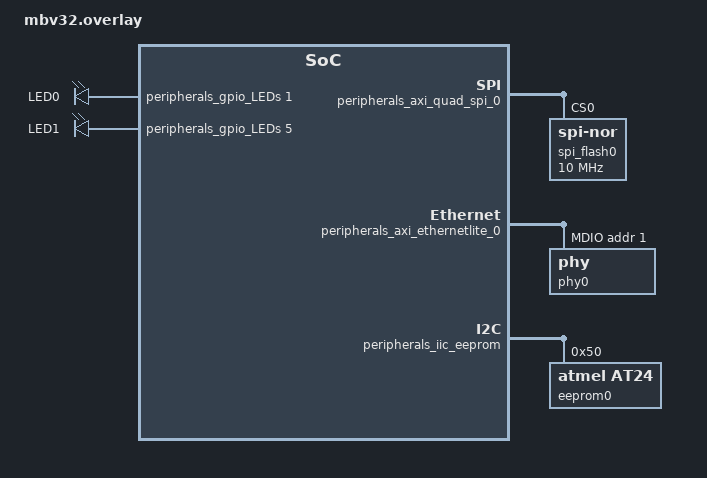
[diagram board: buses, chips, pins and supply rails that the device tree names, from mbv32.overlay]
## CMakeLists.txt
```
cmake_minimum_required(VERSION 3.20.0)

find_package(Zephyr REQUIRED HINTS $ENV{ZEPHYR_BASE})
project(mbv_myapp)

file(GLOB APP_SOURCES CONFIGURE_DEPENDS
    ${CMAKE_CURRENT_SOURCE_DIR}/src/*.c
)

target_sources(app PRIVATE ${APP_SOURCES})
```

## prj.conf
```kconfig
#CONFIG_NO_OPTIMIZATIONS=y

CONFIG_PRINTK=y
CONFIG_CONSOLE=y
CONFIG_UART_CONSOLE=y
CONFIG_GPIO=y
CONFIG_MAIN_STACK_SIZE=2048

CONFIG_KERNEL_SHELL=y
CONFIG_SHELL=y
CONFIG_SHELL_BACKEND_SERIAL=y
CONFIG_SHELL_HELP=y
CONFIG_SHELL_HISTORY=y
CONFIG_SHELL_TAB=y
CONFIG_SHELL_PROMPT_UART="SCU35>"


CONFIG_SHELL_STACK_SIZE=2048
CONFIG_SHELL_CMD_BUFF_SIZE=256
CONFIG_SHELL_PRINTF_BUFF_SIZE=256

CONFIG_SPI=y
CONFIG_SPI_NOR=y
CONFIG_SPI_NOR_SFDP_RUNTIME=y

CONFIG_FLASH=y
CONFIG_FLASH_MAP=y
CONFIG_FLASH_SHELL=y

CONFIG_LOG=y
#CONFIG_SPI_LOG_LEVEL_DBG=y
CONFIG_FLASH_LOG_LEVEL_DBG=y


CONFIG_I2C=y
CONFIG_EEPROM=y
CONFIG_EEPROM_AT24=y
CONFIG_EEPROM_SHELL=y
```

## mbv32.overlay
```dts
#include <zephyr/dt-bindings/gpio/gpio.h>

/ {
    leds {
        compatible = "gpio-leds";

        led0: led_0 {
            gpios = <&peripherals_gpio_LEDs 1 GPIO_ACTIVE_HIGH>;
            label = "LED0";
        };
        led1: led_1 {
            gpios = <&peripherals_gpio_LEDs 5 GPIO_ACTIVE_HIGH>;
            label = "LED1";
        };
    };

    aliases {
        led0 = &led0;
        led1 = &led1;
    };

    chosen {
        zephyr,sram  = &microblaze_riscv_0_local_memory_dlmb_bram_if_cntlr0_memory;
    };
};

&peripherals_axi_quad_spi_0 {
    status = "okay";

    spi_flash0: flash@0 {
        compatible = "jedec,spi-nor";
        status = "okay";
        reg = <0>;
        /* Start slow for bring-up */
        spi-max-frequency = <10000000>;

        jedec-id = [20 bb 18];
        size = <0x1000000>; /* 16 MiB / 128 Mbit */
    };
};

&peripherals_axi_ethernetlite_0 {
    status = "okay";
    mdio {
        #address-cells = <1>;
        #size-cells = <0>;
        phy0: phy@1 {
            device_type = "ethernet-phy";
            reg = <1>;
        };
    };
};

&peripherals_iic_eeprom {
    status = "okay";

    eeprom0: eeprom@50 {
        compatible = "atmel,at24";
        reg = <0x50>;

        size = <8192>;         /* 64 kbit = 8 KiB */
        pagesize = <32>;       /* M24C64 page size */
        address-width = <16>;

        timeout = <5>;
        status = "okay";
    };
};
```

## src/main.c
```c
/******************************************************************************
 * Copyright (c) 2026 Marco Höfle, Avnet-Silica
 *
 * Permission is hereby granted, free of charge, to any person obtaining a copy
 * of this software and associated documentation files to deal in the software
 * without restriction, including without limitation the rights to use, copy,
 * modify, merge, publish, distribute, sublicense, and/or sell copies.
 *
 * THE SOFTWARE IS PROVIDED "AS IS", WITHOUT WARRANTY OF ANY KIND.
 ******************************************************************************/

#include <zephyr/kernel.h>
#include <zephyr/sys/printk.h>
#include <zephyr/shell/shell.h>

#include "led.h"

/* Thread stack */
#define STACK_SIZE 512
#define PRIORITY 5

K_THREAD_STACK_DEFINE(led_stack, STACK_SIZE);

struct k_thread led_thread_data;



int main(void)
{
    printk("Hello from my own Zephyr app on MicroBlaze V!\n");
    printk("Built: " __DATE__ " "__TIME__ "\n");

    init_leds();

    /* Create LED thread */
    k_thread_create(&led_thread_data, led_stack,
                    STACK_SIZE,
                    led_thread,
                    NULL, NULL, NULL,
                    PRIORITY, 0, K_NO_WAIT);

    k_thread_name_set(&led_thread_data, "led");


    return 0;
}
```

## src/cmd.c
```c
/******************************************************************************
 * Copyright (c) 2026 Marco Höfle, Avnet-Silica
 *
 * Permission is hereby granted, free of charge, to any person obtaining a copy
 * of this software and associated documentation files to deal in the software
 * without restriction, including without limitation the rights to use, copy,
 * modify, merge, publish, distribute, sublicense, and/or sell copies.
 *
 * THE SOFTWARE IS PROVIDED "AS IS", WITHOUT WARRANTY OF ANY KIND.
 ******************************************************************************/

#include <zephyr/kernel.h>
#include <zephyr/shell/shell.h>

#include "led.h"

static int cmd_led_on(const struct shell *sh, size_t argc, char **argv)
{
    shell_print(sh, "LED on");
    led1_on();
    return 0;
}

static int cmd_led_off(const struct shell *sh, size_t argc, char **argv)
{
    shell_print(sh, "LED off");
    led1_off();
    return 0;
}

SHELL_STATIC_SUBCMD_SET_CREATE(led_cmds,
    SHELL_CMD(on, NULL, "Switch LED on", cmd_led_on),
    SHELL_CMD(off, NULL, "Switch LED off", cmd_led_off),
    SHELL_SUBCMD_SET_END
);


SHELL_CMD_REGISTER(led, &led_cmds, "LED commands", NULL);
```

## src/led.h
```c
/******************************************************************************
 * Copyright (c) 2026 Marco Höfle, Avnet-Silica
 *
 * Permission is hereby granted, free of charge, to any person obtaining a copy
 * of this software and associated documentation files to deal in the software
 * without restriction, including without limitation the rights to use, copy,
 * modify, merge, publish, distribute, sublicense, and/or sell copies.
 *
 * THE SOFTWARE IS PROVIDED "AS IS", WITHOUT WARRANTY OF ANY KIND.
 ******************************************************************************/

#ifndef LED_H
#define LED_H

void init_leds(void);
void led_thread(void *arg1, void *arg2, void *arg3);
void led1_off(void);
void led1_on(void);

#endif
```
